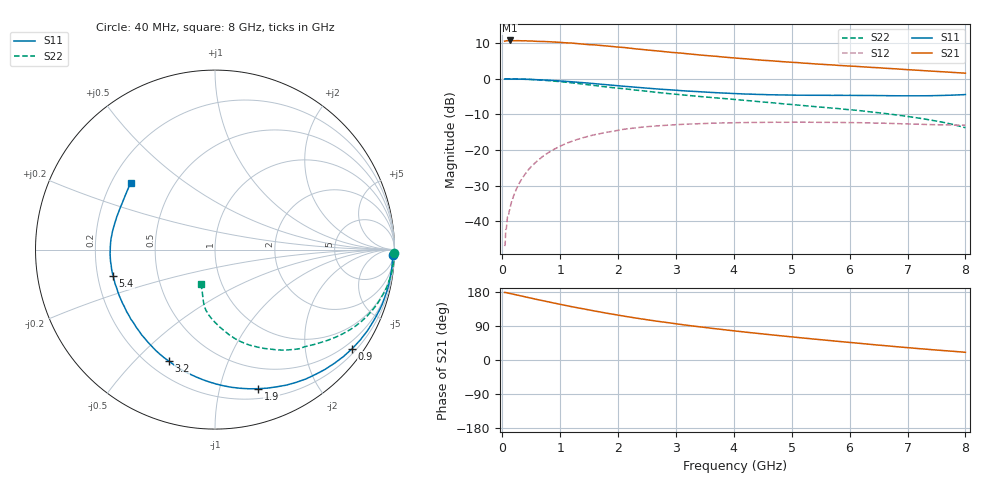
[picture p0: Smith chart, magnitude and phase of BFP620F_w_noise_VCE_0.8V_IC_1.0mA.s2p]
! Infineon Technologies  Discrete & RF Semiconductors
! BFP620F
! VCE =  0.8 V,  IC =  1.0 mA
! Common Emitter S-Parameters:  Dec 2014
# GHz  S  MA  R  50
!  f  S11  S21  S12  S22
! GHz  MAG  ANG  MAG  ANG  MAG  ANG  MAG  ANG
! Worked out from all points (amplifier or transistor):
!   94 points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, 40 MHz to 8 GHz, reference 50 ohm
!   highest |S21| = 10.7 dB at 130 MHz (marker M1)
!   |S21| within 3 dB of that: start of sweep to 2.723 GHz
!   unconditionally stable (mu >= 1): 7.021 GHz to end of sweep
!   at 350 MHz: K = 0.01, MSG = 19.2 dB, |S12| = -27.7 dB
!   at 3.4 GHz: K = 0.48, MSG = 9.6 dB, |S12| = -12.6 dB
!   at 8 GHz: K = 1.17, MAG = 4.8 dB, |S12| = -13.0 dB
!   lowest NFmin = 0.63 dB at 450 MHz
!   S11 on the Smith chart (normalised r, x): 40 MHz: 20, -66; 900 MHz: 0.31, -3.07; 1.9 GHz: 0.29, -1.32; 3.2 GHz: 0.28, -0.63; 5.4 GHz: 0.26, -0.12; 8 GHz: 0.28, +0.32
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0.04  0.9916 -1.6  3.364 178.3  0.0045 92.6  0.9991 -1.2
0.05  0.9907 -2.1  3.387 178.2  0.0048 95.7  0.9993 -1.4
0.06  0.9924 -2.4  3.387 178.1  0.0077 92.7  0.9999 -1.5
0.07  0.9909 -2.8  3.411 177.6  0.0079 85.0  0.9984 -1.9
0.09  0.9904 -3.6  3.404 176.9  0.0116 92.7  0.9988 -2.5
0.13  0.9899 -5.2  3.442 175.6  0.0146 87.1  0.9986 -3.5
0.25  0.9877 -10.0  3.418 171.6  0.0292 84.4  0.9938 -6.8
0.4  0.9822 -16.0  3.409 166.5  0.0467 80.8  0.9835 -10.8
0.6  0.9694 -23.9  3.341 159.7  0.07 75.5  0.9643 -16.0
0.9  0.9429 -35.8  3.271 150.1  0.1033 67.3  0.9253 -23.5
1.2  0.9065 -47.4  3.166 140.7  0.1327 59.5  0.8763 -30.5
1.4  0.8812 -54.8  3.056 135.0  0.1496 54.5  0.84 -34.9
1.6  0.8531 -62.3  2.983 129.2  0.1646 49.9  0.8035 -39.1
1.9  0.8113 -72.8  2.831 121.0  0.1832 43.6  0.7515 -45.3
2.2  0.7732 -83.0  2.685 113.3  0.2005 37.6  0.7099 -51.6
2.7  0.717 -98.5  2.448 101.8  0.2193 29.0  0.6409 -60.1
3.2  0.6719 -112.6  2.238 91.5  0.2313 22.0  0.5849 -67.4
4.1  0.616 -135.5  1.93 75.3  0.2428 11.4  0.5054 -77.7
4.7  0.5955 -149.9  1.771 65.6  0.2457 5.7  0.4581 -83.2
5.4  0.587 -165.4  1.616 55.0  0.2453 -0.2  0.4072 -89.8
6.7  0.5784 167.7  1.391 36.6  0.2366 -9.3  0.3194 -100.7
8  0.6 141.5  1.198 20.3  0.2227 -14.1  0.206 -112.3
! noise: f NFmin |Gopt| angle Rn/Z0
0.45  0.63  0.7  11  0.33
0.9  0.82  0.71  21  0.28
1.5  0.98  0.64  33  0.28
1.8  1.05  0.63  37  0.28
1.9  1.07  0.6  46  0.29
2.4  1.19  0.58  59  0.27
3.5  1.44  0.56  83  0.2
5.5  1.85  0.41  143  0.17
6  1.94  0.29  161  0.33
